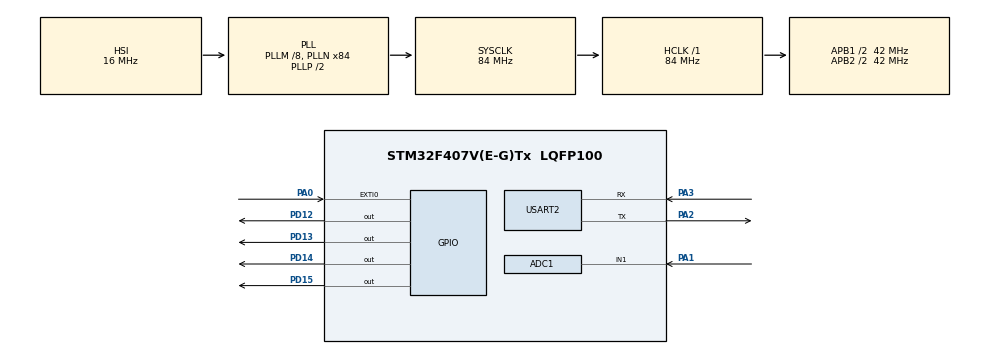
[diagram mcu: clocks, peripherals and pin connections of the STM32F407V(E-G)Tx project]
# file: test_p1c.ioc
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ADC1.Channel-6\#ChannelRegularConversion=ADC_CHANNEL_1
ADC1.NbrOfConversionFlag=1
ADC1.Rank-6\#ChannelRegularConversion=1
ADC1.SamplingTime-6\#ChannelRegularConversion=ADC_SAMPLETIME_3CYCLES
ADC1.master=1
Mcu.Family=STM32F4
Mcu.Name=STM32F407V(E-G)Tx
Mcu.Package=LQFP100
NVIC.ADC_IRQn=true\:0\:0\:false\:false\:true\:true\:true\:true
NVIC.EXTI0_IRQn=true\:0\:0\:true\:false\:true\:true\:true\:true
NVIC.PriorityGroup=NVIC_PRIORITYGROUP_4
NVIC.TIM3_IRQn=true\:1\:0\:true\:false\:true\:true\:true\:true
PA0-WKUP.Signal=GPXTI0
PA1.Signal=ADCx_IN1
PA2.Mode=Asynchronous
PA2.Signal=USART2_TX
PA3.Mode=Asynchronous
PA3.Signal=USART2_RX
PD12.Signal=GPIO_Output
PD13.Signal=GPIO_Output
PD14.Signal=GPIO_Output
PD15.Signal=GPIO_Output
ProjectManager.HeapSize=0x200
ProjectManager.StackSize=0x400
ProjectManager.TargetToolchain=STM32CubeIDE
RCC.48MHZClocksFreq_Value=42000000
RCC.AHBFreq_Value=84000000
RCC.APB1CLKDivider=RCC_HCLK_DIV2
RCC.APB1Freq_Value=42000000
RCC.APB1TimFreq_Value=84000000
RCC.APB2CLKDivider=RCC_HCLK_DIV2
RCC.APB2Freq_Value=42000000
RCC.APB2TimFreq_Value=84000000
RCC.CortexFreq_Value=84000000
RCC.HCLKFreq_Value=84000000
RCC.HSE_VALUE=25000000
RCC.HSI_VALUE=16000000
RCC.LSE_VALUE=32768
RCC.PLLM=8
RCC.PLLN=84
RCC.SYSCLKFreq_VALUE=84000000
RCC.SYSCLKSource=RCC_SYSCLKSOURCE_PLLCLK
RCC.VCOOutputFreq_Value=168000000
SH.ADCx_IN1.0=ADC1_IN1,IN1
TIM3.Period=10000
TIM3.Prescaler=8399
USART2.VirtualMode=VM_ASYNC
VP_TIM3_VS_OPM.Mode=OPM_bit
board=custom

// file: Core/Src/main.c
/* USER CODE BEGIN Header */
/**
  ******************************************************************************
  * @file           : main.c
  * @brief          : Main program body
  ******************************************************************************
  * @attention
  *
  * Copyright (c) 2024 STMicroelectronics.
  * All rights reserved.
  *
  * This software is licensed under terms that can be found in the LICENSE file
  * in the root directory of this software component.
  * If no LICENSE file comes with this software, it is provided AS-IS.
  *
  ******************************************************************************
  */
/* USER CODE END Header */
#include "main.h"
#include "adc.h"
#include "tim.h"
#include "usart.h"
#include "gpio.h"

/* USER CODE BEGIN Includes */
#include <string.h>
#include<stdio.h>
#include <stdbool.h>
/* USER CODE END Includes */

/* USER CODE BEGIN PV */
 uint16_t Val=0;
 volatile int FlagTimeToSendData=0;
 volatile int Timer_count=0;
 uint8_t api_key[] = "DSLLF9CQ2NVSP7FD";
 uint8_t CMD_AT0[]="AT\r\n";
 uint8_t CMD_AT1[]="AT+RST\r\n";
 uint8_t CMD_AT2[]="AT+CWMODE=1\r\n";
 uint8_t CMD_AT3[] = "AT+CWJAP=\"hamza\",\"hamzanote20\"\r\n";
 uint8_t CMD_AT6[] ="AT+CIPSTART=\"TCP\",\"184.106.153.149\",80\r\n";
 uint8_t CMD_AT7[]="AT+CIPSEND=100\r\n";
 uint8_t CMD_AT8[] = "AT+CIPCLOSE\r\n";
/* USER CODE END PV */

void SystemClock_Config(void);

/* USER CODE BEGIN 0 */
void configure_esp() {

    if(HAL_UART_Transmit(&huart2, CMD_AT0, sizeof(CMD_AT0), 10) != HAL_OK) {
        Error_Handler();

    }
    HAL_Delay(500);

    if(HAL_UART_Transmit(&huart2, CMD_AT1, sizeof(CMD_AT1), 10) != HAL_OK) {
        Error_Handler();

    }
    HAL_Delay(500);

    if(HAL_UART_Transmit(&huart2, CMD_AT2, sizeof(CMD_AT2), 10) != HAL_OK) {
        Error_Handler();

    }
    HAL_Delay(500);

    if(HAL_UART_Transmit(&huart2, CMD_AT3, sizeof(CMD_AT3), 10) != HAL_OK) {
        Error_Handler();

    }
    HAL_Delay(500);
}
void send_data_to_thingspeak(UART_HandleTypeDef *huart, uint8_t api_key[], int data_value) {

	    uint8_t CMD_AT_SEND[128];
	    sprintf((char *)CMD_AT_SEND, "GET https://api.thingspeak.com/update?api_key=%s&field1=%d\r\n", api_key, data_value);

	    char CMD_AT7[32];
	    sprintf(CMD_AT7, "AT+CIPSEND=%lu\r\n", (unsigned long)strlen((char *)CMD_AT_SEND));

	    if (HAL_UART_Transmit(huart, (uint8_t *)CMD_AT7, strlen(CMD_AT7), 10) != HAL_OK) {
	        Error_Handler();
	    }
	    HAL_Delay(1000);
	    if (HAL_UART_Transmit(huart, (uint8_t *)CMD_AT_SEND, strlen((char *)CMD_AT_SEND), 10) != HAL_OK) {
	        Error_Handler();

	    }
	    HAL_Delay(2000);

	    char CMD_AT8[] = "AT+CIPCLOSE\r\n";
	    if (HAL_UART_Transmit(huart, (uint8_t *)CMD_AT8, strlen(CMD_AT8), 10) != HAL_OK) {
	        Error_Handler();
	    }
}
void send_data() {
	//FlagTimeToSendData = 0 ;
    if(HAL_UART_Transmit(&huart2, CMD_AT6, sizeof(CMD_AT6), 10) != HAL_OK) {
        Error_Handler();
    }
    HAL_Delay(500);

    send_data_to_thingspeak(&huart2, api_key, Val);
    HAL_Delay(500);
    if(HAL_UART_Transmit(&huart2, CMD_AT8, sizeof(CMD_AT8), 10) != HAL_OK) {
        Error_Handler();
    }
   HAL_Delay(500);

}
/* USER CODE END 0 */

int main(void)
{

  /* MCU Configuration--------------------------------------------------------*/

  /* Reset of all peripherals, Initializes the Flash interface and the Systick. */
  HAL_Init();

  /* Configure the system clock */
  SystemClock_Config();

  /* Initialize all configured peripherals */
  MX_GPIO_Init();
  MX_ADC1_Init();
  MX_USART2_UART_Init();
  MX_TIM3_Init();
  /* USER CODE BEGIN 2 */
  //HAL_TIM_Base_Start_IT(&htim3);
  configure_esp();  /* USER CODE END 2 */

  /* Infinite loop */
  /* USER CODE BEGIN WHILE */
  while (1)
  {
	  if(FlagTimeToSendData){
		  send_data();
		 // Timer_count=1;
		  HAL_TIM_Base_Start_IT(&htim3);
		  //FlagTimeToSendData=0;

		 // timer_count=true;
	  }

    /* USER CODE END WHILE */

  }
}

void SystemClock_Config(void)
{
  RCC_OscInitTypeDef RCC_OscInitStruct = {0};
  RCC_ClkInitTypeDef RCC_ClkInitStruct = {0};

  /** Configure the main internal regulator output voltage
  */
  __HAL_RCC_PWR_CLK_ENABLE();
  __HAL_PWR_VOLTAGESCALING_CONFIG(PWR_REGULATOR_VOLTAGE_SCALE1);

  /** Initializes the RCC Oscillators according to the specified parameters
  * in the RCC_OscInitTypeDef structure.
  */
  RCC_OscInitStruct.OscillatorType = RCC_OSCILLATORTYPE_HSI;
  RCC_OscInitStruct.HSIState = RCC_HSI_ON;
  RCC_OscInitStruct.HSICalibrationValue = RCC_HSICALIBRATION_DEFAULT;
  RCC_OscInitStruct.PLL.PLLState = RCC_PLL_ON;
  RCC_OscInitStruct.PLL.PLLSource = RCC_PLLSOURCE_HSI;
  RCC_OscInitStruct.PLL.PLLM = 8;
  RCC_OscInitStruct.PLL.PLLN = 84;
  RCC_OscInitStruct.PLL.PLLP = RCC_PLLP_DIV2;
  RCC_OscInitStruct.PLL.PLLQ = 4;
  if (HAL_RCC_OscConfig(&RCC_OscInitStruct) != HAL_OK)
  {
    Error_Handler();
  }

  /** Initializes the CPU, AHB and APB buses clocks
  */
  RCC_ClkInitStruct.ClockType = RCC_CLOCKTYPE_HCLK|RCC_CLOCKTYPE_SYSCLK
                              |RCC_CLOCKTYPE_PCLK1|RCC_CLOCKTYPE_PCLK2;
  RCC_ClkInitStruct.SYSCLKSource = RCC_SYSCLKSOURCE_PLLCLK;
  RCC_ClkInitStruct.AHBCLKDivider = RCC_SYSCLK_DIV1;
  RCC_ClkInitStruct.APB1CLKDivider = RCC_HCLK_DIV2;
  RCC_ClkInitStruct.APB2CLKDivider = RCC_HCLK_DIV2;

  if (HAL_RCC_ClockConfig(&RCC_ClkInitStruct, FLASH_LATENCY_2) != HAL_OK)
  {
    Error_Handler();
  }
}

/* USER CODE BEGIN 4 */
void HAL_GPIO_EXTI_Callback(uint16_t GPIO_Pin) {
    if (GPIO_Pin == GPIO_PIN_0) {
    	if(HAL_ADC_Start_IT(&hadc1) != HAL_OK) {
    		        Error_Handler();
    		    }
       // adc_config();
       HAL_GPIO_WritePin(GPIOD, GPIO_PIN_15, GPIO_PIN_SET);

    }
}

void HAL_ADC_ConvCpltCallback(ADC_HandleTypeDef *hadc) {
        HAL_GPIO_WritePin(GPIOD, GPIO_PIN_14, GPIO_PIN_SET);
        Val = (uint16_t)HAL_ADC_GetValue(&hadc1);
        //FlagTimeToSendData = 1 ;
        if(HAL_ADC_Stop_IT(&hadc1) != HAL_OK) {
                    Error_Handler();
        }

        HAL_GPIO_WritePin(GPIOD, GPIO_PIN_13, GPIO_PIN_SET);
        FlagTimeToSendData = 1 ;
}
void HAL_TIM_PeriodElapsedCallback(TIM_HandleTypeDef *htim) {
	//if(Timer_count){
	FlagTimeToSendData=0;
		HAL_GPIO_WritePin(GPIOD, GPIO_PIN_12, GPIO_PIN_SET);

        if(HAL_ADC_Start_IT(&hadc1) != HAL_OK) {
        	        Error_Handler();
        	    }
        //Timer_count=0;
//}
}
/* USER CODE END 4 */

void Error_Handler(void)
{
  __disable_irq();
  while (1)
  {
  }
}
